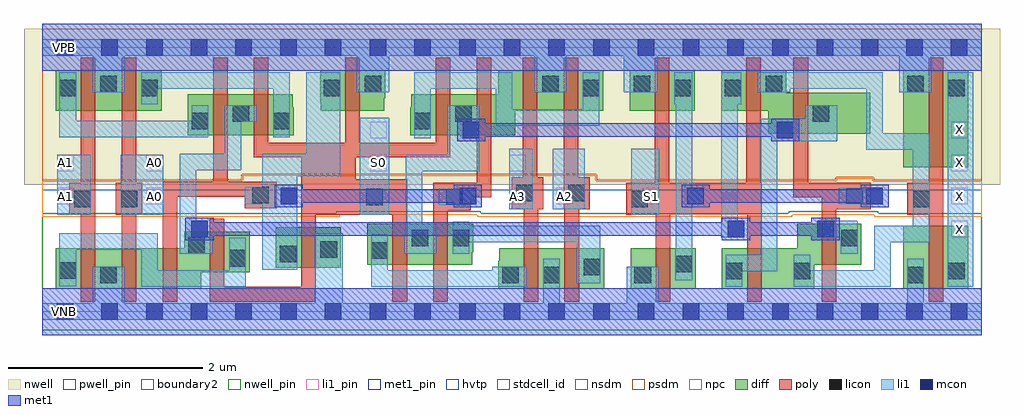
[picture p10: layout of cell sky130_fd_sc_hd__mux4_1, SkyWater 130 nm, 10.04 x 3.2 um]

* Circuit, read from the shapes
.subckt sky130_fd_sc_hd__mux4_1 A0 A1 A2 A3 S0 S1 VGND VNB VPB VPWR X
XM1 VGND A1 n1 VNB sky130_fd_pr__nfet_01v8 w=0.42 l=0.15
XM2 n2 A0 VGND VNB sky130_fd_pr__nfet_01v8 w=0.42 l=0.15
XM3 n3 n4 n2 VNB sky130_fd_pr__nfet_01v8 w=0.42 l=0.15
XM4 n1 S0 n3 VNB sky130_fd_pr__nfet_01v8 w=0.42 l=0.15
XM5 VGND S0 n4 VNB sky130_fd_pr__nfet_01v8 w=0.42 l=0.15
XM6 n5 S0 n6 VNB sky130_fd_pr__nfet_01v8 w=0.42 l=0.15
XM7 n7 n4 n5 VNB sky130_fd_pr__nfet_01v8 w=0.42 l=0.15
XM8 VGND A3 n6 VNB sky130_fd_pr__nfet_01v8 w=0.42 l=0.15
XM9 n7 A2 VGND VNB sky130_fd_pr__nfet_01v8 w=0.42 l=0.15
XM10 n8 S1 VGND VNB sky130_fd_pr__nfet_01v8 w=0.42 l=0.15
XM11 n9 S1 n5 VNB sky130_fd_pr__nfet_01v8 w=0.42 l=0.15
XM12 n3 n8 n9 VNB sky130_fd_pr__nfet_01v8 w=0.42 l=0.15
XM13 X n9 VGND VNB sky130_fd_pr__nfet_01v8 w=0.65 l=0.15
XM14 VPWR A1 n10 VPB sky130_fd_pr__pfet_01v8_hvt w=0.42 l=0.15
XM15 n11 A0 VPWR VPB sky130_fd_pr__pfet_01v8_hvt w=0.42 l=0.15
XM16 n3 n4 n10 VPB sky130_fd_pr__pfet_01v8_hvt w=0.42 l=0.15
XM17 n11 S0 n3 VPB sky130_fd_pr__pfet_01v8_hvt w=0.42 l=0.15
XM18 VPWR S0 n4 VPB sky130_fd_pr__pfet_01v8_hvt w=0.42 l=0.15
XM19 n5 S0 n12 VPB sky130_fd_pr__pfet_01v8_hvt w=0.42 l=0.15
XM20 n13 n4 n5 VPB sky130_fd_pr__pfet_01v8_hvt w=0.42 l=0.15
XM21 VPWR A3 n13 VPB sky130_fd_pr__pfet_01v8_hvt w=0.42 l=0.15
XM22 n12 A2 VPWR VPB sky130_fd_pr__pfet_01v8_hvt w=0.42 l=0.15
XM23 n8 S1 VPWR VPB sky130_fd_pr__pfet_01v8_hvt w=0.42 l=0.15
XM24 n9 S1 n3 VPB sky130_fd_pr__pfet_01v8_hvt w=0.42 l=0.15
XM25 n5 n8 n9 VPB sky130_fd_pr__pfet_01v8_hvt w=0.42 l=0.15
XM26 X n9 VPWR VPB sky130_fd_pr__pfet_01v8_hvt w=1 l=0.15
.ends

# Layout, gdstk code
import gdstk
lib = gdstk.Library(unit=1e-6, precision=1e-09)
def R(c, l, rs):  # rectangles x0, y0, x1, y1
    for r in rs: c.add(gdstk.rectangle(r[:2], r[2:], *l))
def A(c, l, x, y, w, h, nx, ny, dx, dy):  # array of equal rectangles
    R(c, l, [(x+i*dx, y+j*dy, x+i*dx+w, y+j*dy+h) for i in range(nx) for j in range(ny)])
def P(c, l, *ps):  # polygons
    for p in ps: c.add(gdstk.Polygon(p, *l))
nwell_pin = (64, 16)
nwell = (64, 20)
diff = (65, 20)
poly = (66, 20)
licon = (66, 44)
li1_pin = (67, 16)
li1 = (67, 20)
mcon = (67, 44)
met1_pin = (68, 16)
met1 = (68, 20)
hvtp = (78, 44)
stdcell_id = (81, 4)
nsdm = (93, 44)
psdm = (94, 20)
npc = (95, 20)
pwell_pin = (122, 16)
boundary2 = (236, 0)

sky130_fd_sc_hd__mux4_1 = lib.new_cell('sky130_fd_sc_hd__mux4_1')
R(sky130_fd_sc_hd__mux4_1, nwell_pin, [(0.145,2.635,0.315,2.805)])
R(sky130_fd_sc_hd__mux4_1, nwell, [(-0.19,1.305,9.85,2.91)])
R(sky130_fd_sc_hd__mux4_1, diff, [(6.05,0.235,6.72,0.655), (8.855,0.235,9.525,0.885), (2.4,0.45,3.07,0.87), (8.855,1.485,9.525,2.485), (0.135,2.065,1.225,2.485), (6.04,2.065,6.71,2.485)])
P(sky130_fd_sc_hd__mux4_1, diff, [(2.13,0.825),(1.46,0.825),(1.46,0.655),(0.135,0.655),(0.135,0.235),(1.635,0.235),(1.635,0.405),(2.13,0.405)],
  [(2.585,2.105),(2.575,2.105),(2.575,2.235),(1.495,2.235),(1.495,1.815),(2.585,1.815)],
  [(3.525,2.485),(2.855,2.485),(2.855,2.155),(2.865,2.155),(2.865,2.065),(3.515,2.065),(3.515,2.195),(3.525,2.195)],
  [(4.43,0.905),(3.34,0.905),(3.34,0.485),(4.42,0.485),(4.42,0.61),(4.43,0.61)],
  [(5.77,2.485),(4.69,2.485),(4.69,2.235),(3.795,2.235),(3.795,2.105),(3.785,2.105),(3.785,1.815),(4.865,1.815),(4.865,2.065),(5.77,2.065)],
  [(5.78,0.655),(4.7,0.655),(4.7,0.525),(4.69,0.525),(4.69,0.235),(5.78,0.235)],
  [(8.425,0.905),(7.765,0.905),(7.765,0.655),(6.99,0.655),(6.99,0.235),(7.94,0.235),(7.94,0.485),(8.425,0.485)],
  [(8.515,2.25),(7.65,2.25),(7.65,2.485),(6.98,2.485),(6.98,2.065),(7.465,2.065),(7.465,1.83),(8.515,1.83)])
R(sky130_fd_sc_hd__mux4_1, poly, [(4.95,0.105,5.1,1.055), (5.37,0.105,5.52,1.055), (2.66,0.255,2.81,0.995), (5.36,1.055,5.63,1.385), (6.3,1.325,6.45,2.615), (7.24,1.325,7.39,2.615), (1.755,1.335,1.905,2.615), (5.36,1.385,5.51,2.615), (3.115,1.74,3.265,2.615)])
P(sky130_fd_sc_hd__mux4_1, poly, [(0.545,2.615),(0.395,2.615),(0.395,1.325),(0.275,1.325),(0.275,0.995),(0.395,0.995),(0.395,0.105),(0.545,0.105)],
  [(1.025,1.325),(0.965,1.325),(0.965,2.615),(0.815,2.615),(0.815,1.325),(0.755,1.325),(0.755,0.995),(0.815,0.995),(0.815,0.105),(0.965,0.105),(0.965,0.995),(1.025,0.995)],
  [(2.41,1.335),(1.235,1.335),(1.235,0.105),(1.385,0.105),(1.385,1.185),(2.08,1.185),(2.08,1.065),(2.41,1.065)],
  [(4.195,2.615),(4.045,2.615),(4.045,1.74),(2.325,1.74),(2.325,2.615),(2.175,2.615),(2.175,1.59),(2.66,1.59),(2.66,0.995),(3.6,0.995),(3.6,0.105),(3.75,0.105),(3.75,1.365),(3.225,1.365),(3.225,1.59),(4.195,1.59)],
  [(4.615,2.61),(4.465,2.61),(4.465,1.325),(4.02,1.325),(4.02,0.105),(4.17,0.105),(4.17,1.045),(4.405,1.045),(4.405,1.175),(4.615,1.175)],
  [(9.265,2.615),(9.115,2.615),(9.115,1.325),(8.895,1.325),(8.895,0.995),(9.115,0.995),(9.115,0.105),(9.265,0.105)],
  [(7.4,1.325),(6.005,1.325),(6.005,0.995),(6.31,0.995),(6.31,0.105),(6.46,0.105),(6.46,1),(7.25,1),(7.25,0.105),(7.4,0.105)],
  [(8.52,1.325),(7.875,1.325),(7.875,2.615),(7.725,2.615),(7.725,1.175),(8.015,1.175),(8.015,0.105),(8.165,0.105),(8.165,1.055),(8.52,1.055)],
  [(2.81,0.255),(1.87,0.255),(1.87,0.955),(1.72,0.955),(1.72,0.105),(2.81,0.105)],
  [(5.15,1.385),(5.09,1.385),(5.09,2.615),(4.94,2.615),(4.94,1.385),(4.825,1.385),(4.825,1.055),(5.15,1.055)])
R(sky130_fd_sc_hd__mux4_1, licon, [(0.595,0.295,0.765,0.465), (4.73,0.295,4.9,0.465), (5.15,0.295,5.32,0.465), (6.09,0.295,6.26,0.465), (8.895,0.295,9.065,0.465), (7.03,0.335,7.2,0.505), (7.73,0.335,7.9,0.505), (9.315,0.335,9.485,0.505), (0.175,0.34,0.345,0.51), (5.57,0.375,5.74,0.545), (6.51,0.405,6.68,0.575), (1.92,0.465,2.09,0.635), (2.44,0.51,2.61,0.68), (3.38,0.545,3.55,0.715), (2.86,0.555,3.03,0.725), (1.5,0.595,1.67,0.765), (3.8,0.675,3.97,0.845), (4.22,0.675,4.39,0.845), (8.215,0.675,8.385,0.845), (0.325,1.075,0.495,1.245), (0.805,1.075,0.975,1.245), (6.055,1.075,6.225,1.245), (8.955,1.075,9.125,1.245), (3.33,1.095,3.5,1.265), (4.155,1.095,4.325,1.265), (8.27,1.105,8.44,1.275), (2.16,1.115,2.33,1.285), (4.875,1.135,5.045,1.305), (5.41,1.135,5.58,1.305), (1.535,1.875,1.705,2.045), (2.375,1.875,2.545,2.045), (3.825,1.875,3.995,2.045), (1.955,1.955,2.125,2.125), (4.245,1.955,4.415,2.125), (7.925,1.955,8.095,2.125), (0.175,2.215,0.345,2.385), (1.015,2.215,1.185,2.385), (2.895,2.215,3.065,2.385), (5.56,2.215,5.73,2.385), (6.5,2.215,6.67,2.385), (7.02,2.215,7.19,2.385), (9.315,2.215,9.485,2.385), (0.595,2.255,0.765,2.425), (3.315,2.255,3.485,2.425), (5.14,2.255,5.31,2.425), (6.08,2.255,6.25,2.425), (7.44,2.255,7.61,2.425), (8.895,2.255,9.065,2.425)])
A(sky130_fd_sc_hd__mux4_1, li1_pin, 9.35, 0.765, 0.17, 0.17, 1, 4, 0, 0.34)
R(sky130_fd_sc_hd__mux4_1, li1_pin, [(0.15,1.105,0.32,1.275), (1.07,1.105,1.24,1.275), (4.8,1.105,4.97,1.275), (5.285,1.105,5.455,1.275), (6.175,1.105,6.345,1.275), (0.15,1.445,0.32,1.615), (1.07,1.445,1.24,1.615), (3.37,1.445,3.54,1.615), (4.8,1.445,4.97,1.615), (3.37,1.785,3.54,1.955)])
R(sky130_fd_sc_hd__mux4_1, li1, [(9.315,0.255,9.575,2.465), (0.15,0.995,0.495,1.615), (0.805,0.995,1.24,1.615), (3.265,0.995,3.565,1.995), (6.055,0.995,6.345,1.675), (4.8,1.055,5.045,1.675), (5.25,1.055,5.58,1.675), (8.19,1.105,8.645,1.275)])
P(sky130_fd_sc_hd__mux4_1, li1, [(6.805,1.275),(6.685,1.275),(6.685,2.465),(6.5,2.465),(6.5,2.135),(6.515,2.135),(6.515,0.655),(6.51,0.655),(6.51,0.325),(6.685,0.325),(6.685,1.105),(6.805,1.105)],
  [(7.22,0.935),(7.15,0.935),(7.15,2.135),(7.19,2.135),(7.19,2.465),(6.98,2.465),(6.98,0.765),(7.22,0.765)],
  [(8.175,2.125),(7.845,2.125),(7.845,1.985),(7.39,1.985),(7.39,0.585),(7.03,0.585),(7.03,0.255),(7.2,0.255),(7.2,0.415),(7.56,0.415),(7.56,1.755),(8.175,1.755)],
  [(2.545,2.465),(1.015,2.465),(1.015,2.135),(1.185,2.135),(1.185,2.295),(2.375,2.295),(2.375,1.795),(2.545,1.795)],
  [(8.385,0.925),(8.38,0.925),(8.38,0.935),(7.97,0.935),(7.97,0.765),(8.21,0.765),(8.21,0.595),(8.385,0.595)],
  [(9.125,1.835),(8.645,1.835),(8.645,2.465),(7.36,2.465),(7.36,2.255),(7.69,2.255),(7.69,2.295),(8.475,2.295),(8.475,1.665),(8.955,1.665),(8.955,0.885),(8.555,0.885),(8.555,0.425),(7.9,0.425),(7.9,0.585),(7.73,0.585),(7.73,0.255),(8.725,0.255),(8.725,0.715),(9.125,0.715)],
  [(1.705,2.125),(1.535,2.125),(1.535,1.965),(0.345,1.965),(0.345,2.465),(0.175,2.465),(0.175,1.795),(1.705,1.795)],
  [(9.66,2.805),(0,2.805),(0,2.635),(0.515,2.635),(0.515,2.255),(0.845,2.255),(0.845,2.635),(3.235,2.635),(3.235,2.255),(3.565,2.255),(3.565,2.635),(5.06,2.635),(5.06,2.255),(5.39,2.255),(5.39,2.635),(5.98,2.635),(5.98,2.255),(6.33,2.255),(6.33,2.635),(8.815,2.635),(8.815,2.255),(9.145,2.255),(9.145,2.635),(9.66,2.635)],
  [(5.74,0.885),(4.39,0.885),(4.39,0.925),(4.22,0.925),(4.22,0.595),(4.39,0.595),(4.39,0.715),(5.495,0.715),(5.495,0.295),(5.74,0.295)],
  [(5.73,2.465),(5.56,2.465),(5.56,2.085),(4.835,2.085),(4.835,2.465),(3.825,2.465),(3.825,1.785),(3.995,1.785),(3.995,2.295),(4.665,2.295),(4.665,1.915),(5.73,1.915)],
  [(4.495,2.125),(4.165,2.125),(4.165,1.615),(3.735,1.615),(3.735,0.845),(3.72,0.845),(3.72,0.595),(4.05,0.595),(4.05,0.92),(3.905,0.92),(3.905,1.445),(4.495,1.445)],
  [(4.46,1.275),(4.29,1.275),(4.29,1.265),(4.075,1.265),(4.075,1.095),(4.405,1.095),(4.405,1.105),(4.46,1.105)],
  [(4.98,0.465),(4.625,0.465),(4.625,0.425),(3.55,0.425),(3.55,0.795),(3.38,0.795),(3.38,0.255),(4.98,0.255)],
  [(2.09,0.76),(1.92,0.76),(1.92,0.425),(1.185,0.425),(1.185,0.805),(0.175,0.805),(0.175,0.26),(0.345,0.26),(0.345,0.635),(1.015,0.635),(1.015,0.255),(2.09,0.255)],
  [(2.205,2.125),(1.875,2.125),(1.875,1.625),(1.41,1.625),(1.41,0.595),(1.75,0.595),(1.75,0.765),(1.7,0.765),(1.7,0.935),(1.58,0.935),(1.58,1.455),(2.045,1.455),(2.045,1.955),(2.205,1.955)],
  [(3.065,2.465),(2.715,2.465),(2.715,1.625),(2.26,1.625),(2.26,1.285),(2.08,1.285),(2.08,1.105),(2.26,1.105),(2.26,0.43),(2.62,0.43),(2.62,1.395),(3.065,1.395)],
  [(9.66,0.085),(9.065,0.085),(9.065,0.545),(8.895,0.545),(8.895,0.085),(6.34,0.085),(6.34,0.465),(6.01,0.465),(6.01,0.085),(5.32,0.085),(5.32,0.545),(5.15,0.545),(5.15,0.085),(3.09,0.085),(3.09,0.805),(2.8,0.805),(2.8,0.085),(0.845,0.085),(0.845,0.465),(0.515,0.465),(0.515,0.085),(0,0.085),(0,-0.085),(9.66,-0.085)])
A(sky130_fd_sc_hd__mux4_1, mcon, 0.145, -0.085, 0.17, 0.17, 21, 2, 0.46, 2.72)
R(sky130_fd_sc_hd__mux4_1, mcon, [(1.53,0.765,1.7,0.935), (7.05,0.765,7.22,0.935), (7.97,0.765,8.14,0.935), (2.45,1.105,2.62,1.275), (4.29,1.105,4.46,1.275), (6.635,1.105,6.805,1.275), (8.475,1.105,8.645,1.275), (4.325,1.785,4.495,1.955), (7.555,1.785,7.725,1.955)])
R(sky130_fd_sc_hd__mux4_1, met1_pin, [(0.145,-0.085,0.315,0.085), (0.145,2.635,0.315,2.805)])
P(sky130_fd_sc_hd__mux4_1, met1, [(4.52,1.305),(4.23,1.305),(4.23,1.26),(2.68,1.26),(2.68,1.305),(2.39,1.305),(2.39,1.075),(2.68,1.075),(2.68,1.12),(4.23,1.12),(4.23,1.075),(4.52,1.075)],
  [(7.785,1.985),(7.495,1.985),(7.495,1.94),(4.555,1.94),(4.555,1.985),(4.265,1.985),(4.265,1.755),(4.555,1.755),(4.555,1.8),(7.495,1.8),(7.495,1.755),(7.785,1.755)],
  [(8.705,1.305),(8.415,1.305),(8.415,1.26),(6.865,1.26),(6.865,1.305),(6.575,1.305),(6.575,1.075),(6.865,1.075),(6.865,1.12),(8.415,1.12),(8.415,1.075),(8.705,1.075)],
  [(8.2,0.965),(7.91,0.965),(7.91,0.92),(7.28,0.92),(7.28,0.965),(6.99,0.965),(6.99,0.92),(1.76,0.92),(1.76,0.965),(1.47,0.965),(1.47,0.735),(1.76,0.735),(1.76,0.78),(6.99,0.78),(6.99,0.735),(7.28,0.735),(7.28,0.78),(7.91,0.78),(7.91,0.735),(8.2,0.735)])
R(sky130_fd_sc_hd__mux4_1, hvtp, [(0,1.25,9.66,2.72)])
R(sky130_fd_sc_hd__mux4_1, stdcell_id, [(0,0,9.66,2.72)])
P(sky130_fd_sc_hd__mux4_1, nsdm, [(9.66,1.015),(8.595,1.015),(8.595,1.035),(7.675,1.035),(7.675,1.015),(4.51,1.015),(4.51,1.035),(3.02,1.035),(3.02,1.015),(0,1.015),(0,-0.19),(9.66,-0.19)])
P(sky130_fd_sc_hd__mux4_1, psdm, [(9.66,2.91),(0,2.91),(0,1.355),(2.05,1.355),(2.05,1.415),(5.7,1.415),(5.7,1.355),(8.16,1.355),(8.16,1.385),(8.55,1.385),(8.55,1.355),(9.66,1.355)])
P(sky130_fd_sc_hd__mux4_1, npc, [(9.66,1.345),(8.54,1.345),(8.54,1.375),(8.17,1.375),(8.17,1.345),(5.69,1.345),(5.69,1.405),(2.06,1.405),(2.06,1.345),(0,1.345),(0,0.975),(3.06,0.975),(3.06,0.995),(4.47,0.995),(4.47,0.975),(7.715,0.975),(7.715,0.995),(8.555,0.995),(8.555,0.975),(9.66,0.975)])
R(sky130_fd_sc_hd__mux4_1, pwell_pin, [(0.145,-0.085,0.315,0.085)])
R(sky130_fd_sc_hd__mux4_1, boundary2, [(0,0,9.66,2.72)])
sky130_fd_sc_hd__mux4_1.add(gdstk.FlexPath([(0,2.72),(9.66,2.72)], 0.48, ends="flush", simple_path=True, layer=68, datatype=20))  # met1
sky130_fd_sc_hd__mux4_1.add(gdstk.FlexPath([(0,0),(9.66,0)], 0.48, ends="flush", simple_path=True, layer=68, datatype=20))  # met1
sky130_fd_sc_hd__mux4_1.add(gdstk.Label('S0', (3.455,1.53), layer=67, texttype=5))
sky130_fd_sc_hd__mux4_1.add(gdstk.Label('A1', (0.235,1.19), layer=67, texttype=5))
sky130_fd_sc_hd__mux4_1.add(gdstk.Label('X', (9.435,1.19), layer=67, texttype=5))
sky130_fd_sc_hd__mux4_1.add(gdstk.Label('X', (9.435,1.53), layer=67, texttype=5))
sky130_fd_sc_hd__mux4_1.add(gdstk.Label('X', (9.435,1.87), layer=67, texttype=5))
sky130_fd_sc_hd__mux4_1.add(gdstk.Label('S1', (6.26,1.19), layer=67, texttype=5))
sky130_fd_sc_hd__mux4_1.add(gdstk.Label('A2', (5.37,1.19), layer=67, texttype=5))
sky130_fd_sc_hd__mux4_1.add(gdstk.Label('A1', (0.235,1.53), layer=67, texttype=5))
sky130_fd_sc_hd__mux4_1.add(gdstk.Label('A0', (1.155,1.53), layer=67, texttype=5))
sky130_fd_sc_hd__mux4_1.add(gdstk.Label('A0', (1.155,1.19), layer=67, texttype=5))
sky130_fd_sc_hd__mux4_1.add(gdstk.Label('X', (9.435,0.85), layer=67, texttype=5))
sky130_fd_sc_hd__mux4_1.add(gdstk.Label('A3', (4.885,1.19), layer=67, texttype=5))
sky130_fd_sc_hd__mux4_1.add(gdstk.Label('VNB', (0.23,0), layer=64, texttype=59))
sky130_fd_sc_hd__mux4_1.add(gdstk.Label('VPB', (0.23,2.72), layer=64, texttype=5))
sky130_fd_sc_hd__mux4_1.add(gdstk.Label('VGND', (0.225,0), layer=68, texttype=5))
sky130_fd_sc_hd__mux4_1.add(gdstk.Label('VPWR', (0.23,2.72), layer=68, texttype=5))
sky130_fd_sc_hd__mux4_1.add(gdstk.Label('mux4_1', (0,0), layer=83, texttype=44))

lib.write_gds('sky130_fd_sc_hd__mux4_1.gds')
